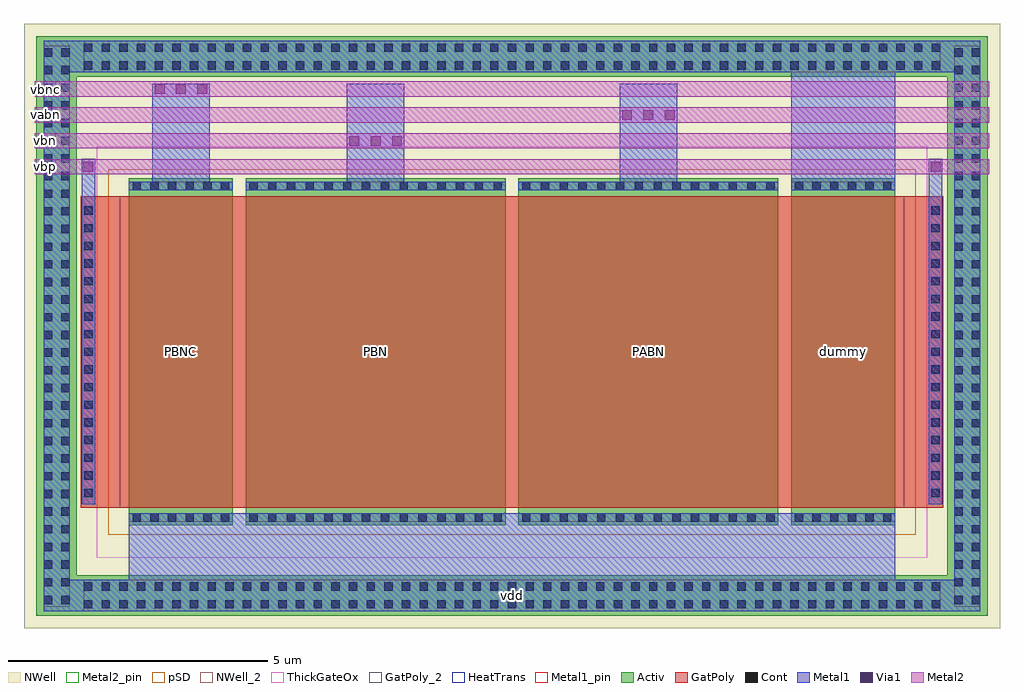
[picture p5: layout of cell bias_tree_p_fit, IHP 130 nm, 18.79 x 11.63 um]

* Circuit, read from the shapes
.subckt bias_tree_p_fit vabn vbn vbnc vbp vdd
XM1 vbnc vbp vdd vdd sg13_hv_pmos w=2u l=6u
XM2 vbn vbp vdd vdd sg13_hv_pmos w=5u l=6u
XM3 vabn vbp vdd vdd sg13_hv_pmos w=5u l=6u
XM4 vdd vbp vdd vdd sg13_hv_pmos w=2u l=6u
.ends

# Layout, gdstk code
from math import pi, radians
import gdstk
lib = gdstk.Library(unit=1e-6, precision=1e-09)
def R(c, l, rs):  # rectangles x0, y0, x1, y1
    for r in rs: c.add(gdstk.rectangle(r[:2], r[2:], *l))
def A(c, l, x, y, w, h, nx, ny, dx, dy):  # array of equal rectangles
    R(c, l, [(x+i*dx, y+j*dy, x+i*dx+w, y+j*dy+h) for i in range(nx) for j in range(ny)])
Activ = (1, 0)
GatPoly = (5, 0)
GatPoly_2 = (5, 2)
Cont = (6, 0)
Metal1 = (8, 0)
Metal1_pin = (8, 2)
Metal2 = (10, 0)
Metal2_pin = (10, 2)
pSD = (14, 0)
Via1 = (19, 0)
NWell = (31, 0)
NWell_2 = (31, 2)
ThickGateOx = (44, 0)
HeatTrans = (51, 0)

pmoshv_1_1 = lib.new_cell('pmosHV$1$1')
R(pmoshv_1_1, Activ, [(0,0,0.3,0.3), (0,0,6.68,5), (6.38,0,6.68,0.3)])
R(pmoshv_1_1, GatPoly, [(0.34,-0.18,6.34,5.18)])
R(pmoshv_1_1, GatPoly_2, [(0.34,-0.18,6.34,5.18)])
A(pmoshv_1_1, Cont, 0.07, 0.07, 0.16, 0.16, 1, 4, 0, 0.36)
A(pmoshv_1_1, Cont, 6.45, 0.07, 0.16, 0.16, 1, 4, 0, 0.36)
A(pmoshv_1_1, Cont, 0.07, 1.515, 0.16, 0.16, 1, 3, 0, 0.36)
A(pmoshv_1_1, Cont, 6.45, 1.515, 0.16, 0.16, 1, 3, 0, 0.36)
A(pmoshv_1_1, Cont, 0.07, 2.6, 0.16, 0.16, 1, 3, 0, 0.36)
A(pmoshv_1_1, Cont, 6.45, 2.6, 0.16, 0.16, 1, 3, 0, 0.36)
A(pmoshv_1_1, Cont, 0.07, 3.685, 0.16, 0.16, 1, 3, 0, 0.36)
A(pmoshv_1_1, Cont, 6.45, 3.685, 0.16, 0.16, 1, 3, 0, 0.36)
R(pmoshv_1_1, Cont, [(0.07,4.77,0.23,4.93), (6.45,4.77,6.61,4.93)])
R(pmoshv_1_1, Metal1, [(0.07,0,0.23,5), (6.45,0,6.61,5)])
R(pmoshv_1_1, Metal1_pin, [(0.07,0,0.23,5), (6.45,0,6.61,5)])
R(pmoshv_1_1, pSD, [(-0.18,-0.4,6.86,5.4)])
R(pmoshv_1_1, NWell, [(-0.62,-0.62,7.3,5.62)])
R(pmoshv_1_1, ThickGateOx, [(-0.62,-0.62,7.3,5.62)])
R(pmoshv_1_1, HeatTrans, [(0.34,-0.18,6.34,5.18)])
pmoshv_1_1.add(gdstk.Label('pmosHV', (3.34,2.5), layer=63, texttype=0))
pmoshv_1_1.add(gdstk.Label('pmos', (3.34,2.5), layer=51, texttype=0))

ntap1_29 = lib.new_cell('ntap1$29')
R(ntap1_29, Activ, [(0,0,16.75,0.78)])
A(ntap1_29, Cont, 0.135, 0.14, 0.16, 0.16, 49, 2, 0.34, 0.34)
R(ntap1_29, Metal1, [(0.135,0.09,16.615,0.69)])
R(ntap1_29, Metal1_pin, [(0.135,0.09,16.615,0.69), (0.135,0.14,16.615,0.64)])
R(ntap1_29, NWell, [(-0.24,-0.24,16.99,1.02), (0,0,16.75,0.78)])
R(ntap1_29, NWell_2, [(0,0,16.75,0.78)])
ntap1_29.add(gdstk.Label('well', (8.375,0.01), layer=63, texttype=0))
ntap1_29.add(gdstk.Label('well', (8.375,0.01), layer=31, texttype=0))

ntap1_28 = lib.new_cell('ntap1$28')
R(ntap1_28, Activ, [(0,0,0.78,11.155)])
A(ntap1_28, Cont, 0.14, 0.225, 0.16, 0.16, 1, 32, 0, 0.34)
A(ntap1_28, Cont, 0.48, 0.225, 0.16, 0.16, 1, 32, 0, 0.34)
R(ntap1_28, Metal1, [(0.14,0.175,0.64,10.975)])
R(ntap1_28, Metal1_pin, [(0.14,0.175,0.64,10.975), (0.14,0.225,0.64,10.925)])
R(ntap1_28, NWell, [(-0.24,-0.24,1.02,11.395), (0,0,0.78,11.155)])
R(ntap1_28, NWell_2, [(0,0,0.78,11.155)])
ntap1_28.add(gdstk.Label('well', (0.39,0.01), layer=63, texttype=0))
ntap1_28.add(gdstk.Label('well', (0.39,0.01), layer=31, texttype=0))

pmoshv_8 = lib.new_cell('pmosHV$8')
R(pmoshv_8, Activ, [(0,0,0.3,0.3), (0,0,6.68,2), (6.38,0,6.68,0.3)])
R(pmoshv_8, GatPoly, [(0.34,-0.18,6.34,2.18)])
R(pmoshv_8, GatPoly_2, [(0.34,-0.18,6.34,2.18)])
A(pmoshv_8, Cont, 0.07, 0.07, 0.16, 0.16, 1, 6, 0, 0.34)
A(pmoshv_8, Cont, 6.45, 0.07, 0.16, 0.16, 1, 6, 0, 0.34)
R(pmoshv_8, Metal1, [(0.07,0,0.23,2), (6.45,0,6.61,2)])
R(pmoshv_8, Metal1_pin, [(0.07,0,0.23,2), (6.45,0,6.61,2)])
R(pmoshv_8, pSD, [(-0.18,-0.4,6.86,2.4)])
R(pmoshv_8, NWell, [(-0.62,-0.62,7.3,2.62)])
R(pmoshv_8, ThickGateOx, [(-0.62,-0.62,7.3,2.62)])
R(pmoshv_8, HeatTrans, [(0.34,-0.18,6.34,2.18)])
pmoshv_8.add(gdstk.Label('pmosHV', (3.34,1), layer=63, texttype=0))
pmoshv_8.add(gdstk.Label('pmos', (3.34,1), layer=51, texttype=0))

bias_tree_p_fit = lib.new_cell('bias_tree_p_fit')
R(bias_tree_p_fit, GatPoly, [(-0.93,0.34,-0.18,6.34), (14.93,0.34,15.68,6.34)])
A(bias_tree_p_fit, Cont, -0.86, 0.54, 0.16, 0.16, 1, 17, 0, 0.34)
A(bias_tree_p_fit, Cont, 15.45, 0.54, 0.16, 0.16, 1, 17, 0, 0.34)
R(bias_tree_p_fit, Metal1, [(-1.64,-1.65,16.39,-1.565), (-1.24,-1.65,-0.765,-1.05), (0,-1.65,14.75,0.23), (15.515,-1.65,15.99,-1.05), (-0.91,0.41,-0.65,7.055), (15.4,0.41,15.66,7.055), (0.445,6.45,1.555,8.505), (4.195,6.45,5.305,8.505), (9.445,6.45,10.555,8.505), (12.75,6.45,14.75,8.825), (-1.24,8.725,-0.765,9.325), (15.515,8.725,15.99,9.325), (-1.64,9.235,16.39,9.325)])
R(bias_tree_p_fit, Metal1_pin, [(-0.865,-1.65,15.615,-1.05)])
A(bias_tree_p_fit, Metal2_pin, -1.81, 6.755, 0.4, 0.29, 1, 4, 0, 0.5)
A(bias_tree_p_fit, Via1, 4.245, 7.305, 0.19, 0.19, 3, 1, 0.41, 0)
A(bias_tree_p_fit, Via1, 9.495, 7.805, 0.19, 0.19, 3, 1, 0.41, 0)
A(bias_tree_p_fit, Via1, 0.495, 8.305, 0.19, 0.19, 3, 1, 0.41, 0)
R(bias_tree_p_fit, Via1, [(-0.875,6.805,-0.685,6.995), (15.435,6.805,15.625,6.995)])
R(bias_tree_p_fit, NWell, [(-2.02,-1.98,16.77,9.655)])
R(bias_tree_p_fit, ThickGateOx, [(-0.62,-0.62,15.37,7.3)])
bias_tree_p_fit.add(gdstk.FlexPath([(-1.665,6.9),(16.415,6.9)], 0.29, ends="extended", simple_path=True, layer=10, datatype=0))  # Metal2
bias_tree_p_fit.add(gdstk.FlexPath([(-1.665,7.4),(16.415,7.4)], 0.29, ends="extended", simple_path=True, layer=10, datatype=0))  # Metal2
bias_tree_p_fit.add(gdstk.FlexPath([(-1.665,7.9),(16.415,7.9)], 0.29, ends="extended", simple_path=True, layer=10, datatype=0))  # Metal2
bias_tree_p_fit.add(gdstk.FlexPath([(-1.665,8.4),(16.415,8.4)], 0.29, ends="extended", simple_path=True, layer=10, datatype=0))  # Metal2
r = gdstk.Reference(pmoshv_1_1, (2.25,6.68), rotation=3*pi/2); r.repetition = gdstk.Repetition(1, 2, v1=(0,0), v2=(5.25,0)); bias_tree_p_fit.add(r)
bias_tree_p_fit.add(gdstk.Reference(ntap1_29, (-1,8.635)))
bias_tree_p_fit.add(gdstk.Reference(ntap1_29, (-1,-1.74)))
bias_tree_p_fit.add(gdstk.Reference(ntap1_28, (-1.78,-1.74)))
bias_tree_p_fit.add(gdstk.Reference(ntap1_28, (15.75,-1.74)))
bias_tree_p_fit.add(gdstk.Reference(pmoshv_8, (0,6.68), rotation=3*pi/2))
bias_tree_p_fit.add(gdstk.Reference(pmoshv_8, (12.75,6.68), rotation=3*pi/2))
bias_tree_p_fit.add(gdstk.Label('PBNC', (1,3.34), layer=63, texttype=0))
bias_tree_p_fit.add(gdstk.Label('PBN', (4.75,3.34), layer=63, texttype=0))
bias_tree_p_fit.add(gdstk.Label('PABN', (10,3.34), layer=63, texttype=0))
bias_tree_p_fit.add(gdstk.Label('dummy', (13.75,3.34), layer=63, texttype=0))
bias_tree_p_fit.add(gdstk.Label('vdd', (7.375,-1.35), layer=8, texttype=25))
bias_tree_p_fit.add(gdstk.Label('vbp', (-1.61,6.9), layer=10, texttype=25))
bias_tree_p_fit.add(gdstk.Label('vbn', (-1.61,7.4), layer=10, texttype=25))
bias_tree_p_fit.add(gdstk.Label('vabn', (-1.61,7.9), layer=10, texttype=25))
bias_tree_p_fit.add(gdstk.Label('vbnc', (-1.61,8.4), layer=10, texttype=25))

lib.write_gds('bias_tree_p_fit.gds')
